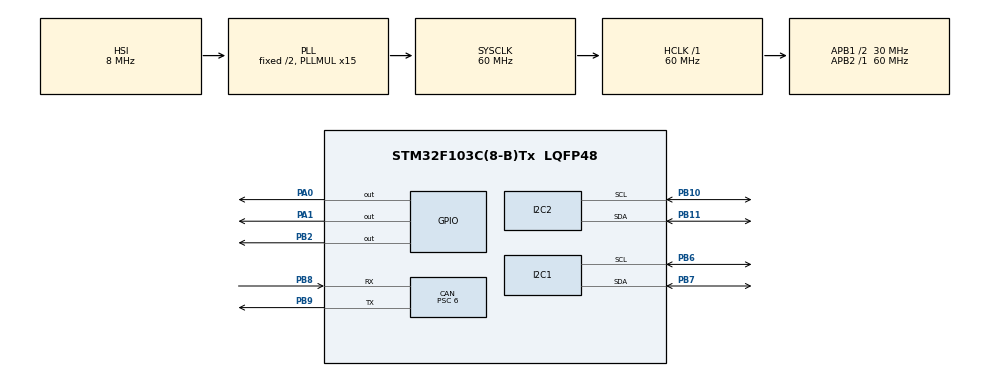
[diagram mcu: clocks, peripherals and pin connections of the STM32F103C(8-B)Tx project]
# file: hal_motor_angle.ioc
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CAN.ABOM=ENABLE
CAN.BS1=CAN_BS1_7TQ
CAN.BS2=CAN_BS2_2TQ
CAN.CalculateBaudRate=500000
CAN.CalculateTimeBit=2000
CAN.CalculateTimeQuantum=200.0
CAN.NART=ENABLE
CAN.Prescaler=6
I2C1.I2C_Mode=I2C_Fast
Mcu.Family=STM32F1
Mcu.Name=STM32F103C(8-B)Tx
Mcu.Package=LQFP48
NVIC.PriorityGroup=NVIC_PRIORITYGROUP_4
NVIC.TIM2_IRQn=true\:0\:0\:false\:false\:true\:true\:true\:true
NVIC.USB_LP_CAN1_RX0_IRQn=true\:0\:0\:false\:false\:true\:true\:true\:true
PA0-WKUP.GPIO_Speed=GPIO_SPEED_FREQ_HIGH
PA0-WKUP.Signal=GPIO_Output
PA1.GPIO_Speed=GPIO_SPEED_FREQ_HIGH
PA1.Signal=GPIO_Output
PA13.Mode=Serial_Wire
PA13.Signal=SYS_JTMS-SWDIO
PA14.Mode=Serial_Wire
PA14.Signal=SYS_JTCK-SWCLK
PB10.Mode=I2C
PB10.Signal=I2C2_SCL
PB11.Mode=I2C
PB11.Signal=I2C2_SDA
PB2.Signal=GPIO_Output
PB6.Mode=I2C
PB6.Signal=I2C1_SCL
PB7.Mode=I2C
PB7.Signal=I2C1_SDA
PB8.Mode=CAN_Activate
PB8.Signal=CAN_RX
PB9.Mode=CAN_Activate
PB9.Signal=CAN_TX
ProjectManager.HeapSize=0x200
ProjectManager.StackSize=0x400
ProjectManager.TargetToolchain=STM32CubeIDE
RCC.AHBFreq_Value=60000000
RCC.APB1CLKDivider=RCC_HCLK_DIV2
RCC.APB1Freq_Value=30000000
RCC.APB1TimFreq_Value=60000000
RCC.APB2Freq_Value=60000000
RCC.APB2TimFreq_Value=60000000
RCC.HCLKFreq_Value=60000000
RCC.PLLMUL=RCC_PLL_MUL15
RCC.SYSCLKFreq_VALUE=60000000
RCC.SYSCLKSource=RCC_SYSCLKSOURCE_PLLCLK
RCC.USBFreq_Value=60000000
TIM2.Period=99
TIM2.Prescaler=71
VP_TIM2_VS_ClockSourceINT.Mode=Internal
board=custom

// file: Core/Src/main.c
/* USER CODE BEGIN Header */
/**
 ******************************************************************************
 * @file           : main.c
 * @brief          : Main program body
 ******************************************************************************
 * @attention
 *
 * Copyright (c) 2026 STMicroelectronics.
 * All rights reserved.
 *
 * This software is licensed under terms that can be found in the LICENSE file
 * in the root directory of this software component.
 * If no LICENSE file comes with this software, it is provided AS-IS.
 *
 ******************************************************************************
 */
/* USER CODE END Header */
#include "main.h"

/* USER CODE BEGIN PD */
#define TARGET_ANGLE_DEG    60.0f   /* <-- your desired angle 0–360 */
#define VESC_CAN_ID         76       /* match VESC Tool → App → CAN ID */

#define DEADBAND        2.0f    /* degrees */

#define CAN_PACKET_SET_RPM   3
#define CAN_PACKET_ALIVE        30

#define for_rpm  2000
#define rev_rpm -2000

#define min_thr 0
#define max_thr 3000
/* USER CODE END PD */

CAN_HandleTypeDef hcan;

I2C_HandleTypeDef hi2c1;
I2C_HandleTypeDef hi2c2;

TIM_HandleTypeDef htim2;

/* USER CODE BEGIN PV */
uint16_t angle_raw = 0;
float angle_deg = 0.0f;
uint8_t as_ok = 0;

float err = 0;

uint8_t motor_stopped = 0;

uint32_t can_tx_ok = 0;
uint32_t can_tx_fail = 0;
uint8_t data[4];
uint32_t state = 0;

/* USER CODE END PV */

void SystemClock_Config(void);
static void MX_GPIO_Init(void);
static void MX_I2C1_Init(void);
static void MX_TIM2_Init(void);
static void MX_CAN_Init(void);
static void MX_I2C2_Init(void);
/* USER CODE BEGIN PFP */
static void read_angle(void);
static void set_rpm(int32_t rpm);
static float AngleError(float target, float measured);

/* USER CODE END PFP */

/* USER CODE BEGIN 0 */
#define AS5600_addr (0x36 << 1)
#define raw_angle_reg 0x0E
#define mcp_addr (0x60 << 1)

//#define led_on()   HAL_GPIO_WritePin(GPIOC, GPIO_PIN_13, GPIO_PIN_RESET)
//#define led_off()  HAL_GPIO_WritePin(GPIOC, GPIO_PIN_13, GPIO_PIN_SET)

static void read_angle(void){

	uint8_t buf[2];
	HAL_StatusTypeDef ret = HAL_I2C_Mem_Read(&hi2c1, AS5600_addr, raw_angle_reg, I2C_MEMADD_SIZE_8BIT, buf, 2, 5);
	if (ret == HAL_OK)
	{
		angle_raw = ((uint16_t)buf[0] << 8) | buf[1];
		angle_deg = (float)angle_raw * (360.0f/4096.0f);
		as_ok = 1;
	}
	else
	{
		as_ok = 0;
	}
}

static float AngleError(float target, float measured)
{
	float err = target - measured;
	if (err > 180) err -= 360.0f;
	if (err < -180) err += 360.0f;
	return err;
}

static void VESC_CAN_SendFrame(uint8_t packet_id, int32_t value)
{
	CAN_TxHeaderTypeDef hdr;

    uint32_t mailbox;

    hdr.StdId    = 0;
    hdr.ExtId    = ((uint32_t)packet_id << 8) | (VESC_CAN_ID & 0xFF);
    hdr.IDE      = CAN_ID_EXT;   /* VESC uses 29-bit extended IDs */
    hdr.RTR      = CAN_RTR_DATA;
    hdr.DLC      = 4;

    data[0] = (value >> 24) & 0xFF;
    data[1] = (value >> 16) & 0xFF;
    data[2] = (value >>  8) & 0xFF;
    data[3] = (value >>  0) & 0xFF;

    if (HAL_CAN_AddTxMessage(&hcan, &hdr, data, &mailbox) == HAL_OK)
        can_tx_ok++;
    else
        can_tx_fail++;
}

static void set_rpm(int32_t rpm)
{
	VESC_CAN_SendFrame(CAN_PACKET_SET_RPM, rpm);

}

void mcp_chA(uint8_t channel, uint16_t value)
{
	uint8_t buf[3];

	buf[0] = 0x40 | (channel << 1);
	buf[1] = (value >> 4) & 0xFF;
    buf[2] = (value << 4) & 0xF0;

    HAL_I2C_Master_Transmit(&hi2c2, mcp_addr, buf, 3, 10);
}

/* USER CODE END 0 */

int main(void)
{

  /* MCU Configuration--------------------------------------------------------*/

  /* Reset of all peripherals, Initializes the Flash interface and the Systick. */
  HAL_Init();

  /* Configure the system clock */
  SystemClock_Config();

  /* Initialize all configured peripherals */
  MX_GPIO_Init();
  MX_I2C1_Init();
  MX_TIM2_Init();
  MX_CAN_Init();
  MX_I2C2_Init();
  /* USER CODE BEGIN 2 */
 HAL_Delay(500);

  /* USER CODE END 2 */

  /* Infinite loop */
 while (1)
 {

    /* USER CODE BEGIN 3 */
	  read_angle();
	  state = HAL_CAN_GetState(&hcan);

		  err = AngleError(TARGET_ANGLE_DEG, angle_deg);

		  if (err > DEADBAND)
		  {
			  set_rpm(for_rpm);
			  mcp_chA(0, min_thr);
		  }
		  else if (err < -DEADBAND)
		  {
			  set_rpm(rev_rpm);
			  mcp_chA(0, min_thr);

		  }
		  else {
			  set_rpm(0);
			  mcp_chA(0, max_thr);

		  }

	  HAL_Delay(10);

 }
  /* USER CODE END 3 */
}

void SystemClock_Config(void)
{
  RCC_OscInitTypeDef RCC_OscInitStruct = {0};
  RCC_ClkInitTypeDef RCC_ClkInitStruct = {0};

  /** Initializes the RCC Oscillators according to the specified parameters
  * in the RCC_OscInitTypeDef structure.
  */
  RCC_OscInitStruct.OscillatorType = RCC_OSCILLATORTYPE_HSI;
  RCC_OscInitStruct.HSIState = RCC_HSI_ON;
  RCC_OscInitStruct.HSICalibrationValue = RCC_HSICALIBRATION_DEFAULT;
  RCC_OscInitStruct.PLL.PLLState = RCC_PLL_ON;
  RCC_OscInitStruct.PLL.PLLSource = RCC_PLLSOURCE_HSI_DIV2;
  RCC_OscInitStruct.PLL.PLLMUL = RCC_PLL_MUL15;
  if (HAL_RCC_OscConfig(&RCC_OscInitStruct) != HAL_OK)
  {
    Error_Handler();
  }

  /** Initializes the CPU, AHB and APB buses clocks
  */
  RCC_ClkInitStruct.ClockType = RCC_CLOCKTYPE_HCLK|RCC_CLOCKTYPE_SYSCLK
                              |RCC_CLOCKTYPE_PCLK1|RCC_CLOCKTYPE_PCLK2;
  RCC_ClkInitStruct.SYSCLKSource = RCC_SYSCLKSOURCE_PLLCLK;
  RCC_ClkInitStruct.AHBCLKDivider = RCC_SYSCLK_DIV1;
  RCC_ClkInitStruct.APB1CLKDivider = RCC_HCLK_DIV2;
  RCC_ClkInitStruct.APB2CLKDivider = RCC_HCLK_DIV1;

  if (HAL_RCC_ClockConfig(&RCC_ClkInitStruct, FLASH_LATENCY_2) != HAL_OK)
  {
    Error_Handler();
  }
}

static void MX_CAN_Init(void)
{

  hcan.Instance = CAN1;
  hcan.Init.Prescaler = 6;
  hcan.Init.Mode = CAN_MODE_NORMAL;
  hcan.Init.SyncJumpWidth = CAN_SJW_1TQ;
  hcan.Init.TimeSeg1 = CAN_BS1_7TQ;
  hcan.Init.TimeSeg2 = CAN_BS2_2TQ;
  hcan.Init.TimeTriggeredMode = DISABLE;
  hcan.Init.AutoBusOff = ENABLE;
  hcan.Init.AutoWakeUp = DISABLE;
  hcan.Init.AutoRetransmission = ENABLE;
  hcan.Init.ReceiveFifoLocked = DISABLE;
  hcan.Init.TransmitFifoPriority = DISABLE;
  if (HAL_CAN_Init(&hcan) != HAL_OK)
  {
    Error_Handler();
  }
  /* USER CODE BEGIN CAN_Init 2 */
  CAN_FilterTypeDef f = {0};
  f.FilterBank           = 0;
  f.FilterMode           = CAN_FILTERMODE_IDMASK;
  f.FilterScale          = CAN_FILTERSCALE_32BIT;
  f.FilterIdHigh         = 0x0000;
  f.FilterIdLow          = 0x0000;
  f.FilterMaskIdHigh     = 0x0000;
  f.FilterMaskIdLow      = 0x0000;
  f.FilterFIFOAssignment = CAN_RX_FIFO0;
  f.FilterActivation     = ENABLE;
  if (HAL_CAN_ConfigFilter(&hcan, &f) != HAL_OK) Error_Handler();
  if (HAL_CAN_Start(&hcan) != HAL_OK) Error_Handler();
  /* USER CODE END CAN_Init 2 */

}

static void MX_I2C1_Init(void)
{

  hi2c1.Instance = I2C1;
  hi2c1.Init.ClockSpeed = 400000;
  hi2c1.Init.DutyCycle = I2C_DUTYCYCLE_2;
  hi2c1.Init.OwnAddress1 = 0;
  hi2c1.Init.AddressingMode = I2C_ADDRESSINGMODE_7BIT;
  hi2c1.Init.DualAddressMode = I2C_DUALADDRESS_DISABLE;
  hi2c1.Init.OwnAddress2 = 0;
  hi2c1.Init.GeneralCallMode = I2C_GENERALCALL_DISABLE;
  hi2c1.Init.NoStretchMode = I2C_NOSTRETCH_DISABLE;
  if (HAL_I2C_Init(&hi2c1) != HAL_OK)
  {
    Error_Handler();
  }

}

static void MX_I2C2_Init(void)
{

  hi2c2.Instance = I2C2;
  hi2c2.Init.ClockSpeed = 100000;
  hi2c2.Init.DutyCycle = I2C_DUTYCYCLE_2;
  hi2c2.Init.OwnAddress1 = 0;
  hi2c2.Init.AddressingMode = I2C_ADDRESSINGMODE_7BIT;
  hi2c2.Init.DualAddressMode = I2C_DUALADDRESS_DISABLE;
  hi2c2.Init.OwnAddress2 = 0;
  hi2c2.Init.GeneralCallMode = I2C_GENERALCALL_DISABLE;
  hi2c2.Init.NoStretchMode = I2C_NOSTRETCH_DISABLE;
  if (HAL_I2C_Init(&hi2c2) != HAL_OK)
  {
    Error_Handler();
  }

}

static void MX_TIM2_Init(void)
{

  TIM_ClockConfigTypeDef sClockSourceConfig = {0};
  TIM_MasterConfigTypeDef sMasterConfig = {0};

  htim2.Instance = TIM2;
  htim2.Init.Prescaler = 71;
  htim2.Init.CounterMode = TIM_COUNTERMODE_UP;
  htim2.Init.Period = 99;
  htim2.Init.ClockDivision = TIM_CLOCKDIVISION_DIV1;
  htim2.Init.AutoReloadPreload = TIM_AUTORELOAD_PRELOAD_DISABLE;
  if (HAL_TIM_Base_Init(&htim2) != HAL_OK)
  {
    Error_Handler();
  }
  sClockSourceConfig.ClockSource = TIM_CLOCKSOURCE_INTERNAL;
  if (HAL_TIM_ConfigClockSource(&htim2, &sClockSourceConfig) != HAL_OK)
  {
    Error_Handler();
  }
  sMasterConfig.MasterOutputTrigger = TIM_TRGO_RESET;
  sMasterConfig.MasterSlaveMode = TIM_MASTERSLAVEMODE_DISABLE;
  if (HAL_TIMEx_MasterConfigSynchronization(&htim2, &sMasterConfig) != HAL_OK)
  {
    Error_Handler();
  }

}

static void MX_GPIO_Init(void)
{
  GPIO_InitTypeDef GPIO_InitStruct = {0};

  /* GPIO Ports Clock Enable */
  __HAL_RCC_GPIOA_CLK_ENABLE();
  __HAL_RCC_GPIOB_CLK_ENABLE();

  /*Configure GPIO pin Output Level */
  HAL_GPIO_WritePin(GPIOA, GPIO_PIN_0|GPIO_PIN_1, GPIO_PIN_RESET);

  /*Configure GPIO pin Output Level */
  HAL_GPIO_WritePin(GPIOB, GPIO_PIN_2, GPIO_PIN_RESET);

  /*Configure GPIO pins : PA0 PA1 */
  GPIO_InitStruct.Pin = GPIO_PIN_0|GPIO_PIN_1;
  GPIO_InitStruct.Mode = GPIO_MODE_OUTPUT_PP;
  GPIO_InitStruct.Pull = GPIO_NOPULL;
  GPIO_InitStruct.Speed = GPIO_SPEED_FREQ_HIGH;
  HAL_GPIO_Init(GPIOA, &GPIO_InitStruct);

  /*Configure GPIO pin : PB2 */
  GPIO_InitStruct.Pin = GPIO_PIN_2;
  GPIO_InitStruct.Mode = GPIO_MODE_OUTPUT_PP;
  GPIO_InitStruct.Pull = GPIO_NOPULL;
  GPIO_InitStruct.Speed = GPIO_SPEED_FREQ_LOW;
  HAL_GPIO_Init(GPIOB, &GPIO_InitStruct);

}

void Error_Handler(void)
{
 __disable_irq();
 while (1)
 {
 }
}
